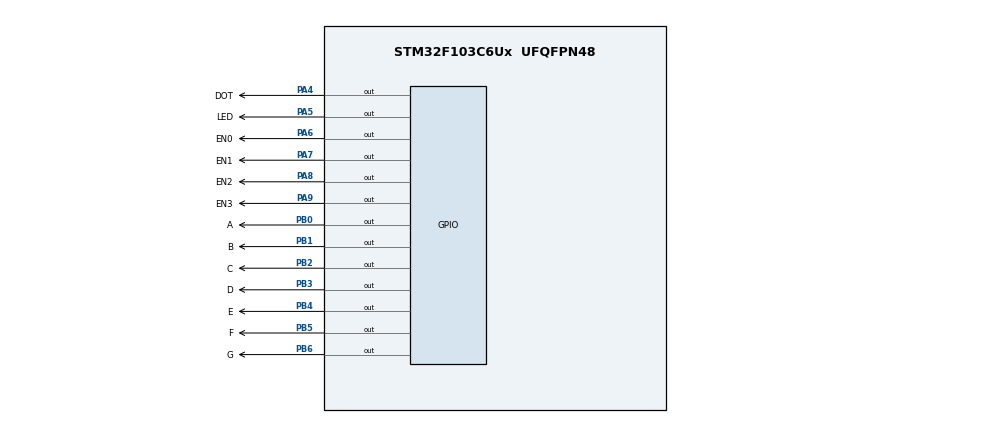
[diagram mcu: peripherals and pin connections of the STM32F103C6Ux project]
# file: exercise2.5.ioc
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Mcu.Family=STM32F1
Mcu.Name=STM32F103C6Ux
Mcu.Package=UFQFPN48
NVIC.PriorityGroup=NVIC_PRIORITYGROUP_4
NVIC.TIM2_IRQn=true\:0\:0\:false\:false\:true\:true\:true
PA4.GPIO_Label=DOT
PA4.Signal=GPIO_Output
PA5.GPIO_Label=LED
PA5.Signal=GPIO_Output
PA6.GPIO_Label=EN0
PA6.Signal=GPIO_Output
PA7.GPIO_Label=EN1
PA7.Signal=GPIO_Output
PA8.GPIO_Label=EN2
PA8.Signal=GPIO_Output
PA9.GPIO_Label=EN3
PA9.Signal=GPIO_Output
PB0.GPIO_Label=A
PB0.Signal=GPIO_Output
PB1.GPIO_Label=B
PB1.Signal=GPIO_Output
PB2.GPIO_Label=C
PB2.Signal=GPIO_Output
PB3.GPIO_Label=D
PB3.Signal=GPIO_Output
PB4.GPIO_Label=E
PB4.Signal=GPIO_Output
PB5.GPIO_Label=F
PB5.Signal=GPIO_Output
PB6.GPIO_Label=G
PB6.Signal=GPIO_Output
ProjectManager.HeapSize=0x200
ProjectManager.StackSize=0x400
ProjectManager.TargetToolchain=STM32CubeIDE
RCC.APB1Freq_Value=8000000
RCC.APB2Freq_Value=8000000
TIM2.Period=9
TIM2.Prescaler=7999
VP_SYS_VS_ND.Mode=No_Debug
VP_TIM2_VS_ClockSourceINT.Mode=Internal
board=custom

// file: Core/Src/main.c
/* USER CODE BEGIN Header */
/**
  ******************************************************************************
  * @file           : main.c
  * @brief          : Main program body
  ******************************************************************************
  * @attention
  *
  * <h2><center>&copy; Copyright (c) 2025 STMicroelectronics.
  * All rights reserved.</center></h2>
  *
  * This software component is licensed by ST under BSD 3-Clause license,
  * the "License"; You may not use this file except in compliance with the
  * License. You may obtain a copy of the License at:
  *                        opensource.org/licenses/BSD-3-Clause
  *
  ******************************************************************************
  */
/* USER CODE END Header */
#include "main.h"

TIM_HandleTypeDef htim2;

/* USER CODE BEGIN PV */
void display7SEG(int num);
void update7SEG(int num);
void updateClockBuffer(int hour, int minute);
/* USER CODE END PV */

void SystemClock_Config(void);
static void MX_GPIO_Init(void);
static void MX_TIM2_Init(void);

/* USER CODE BEGIN 0 */
const uint8_t seg_table[10]={
			0b1000000,
			0b1111001,
			0b0100100,
			0b0110000,
			0b0011001,
			0b0010010,
			0b0000010,
			0b1111000,
			0b0000000,
			0b0010000
};
uint16_t seg_pins[7] ={A_Pin, B_Pin, C_Pin, D_Pin, E_Pin, F_Pin, G_Pin};
//int timer0_counter =0;
//int timer0_flag =0;
//int TIMER_CYCLE = 10;
//void setTimer0(int duration){
//	timer0_counter = duration/TIMER_CYCLE;
//	timer0_flag =0;
//}
//void timer_run(){
//	if(timer0_counter >0){
//		timer0_counter--;
//		if(timer0_counter ==0) timer0_flag =1;
//	}
//}
/* USER CODE END 0 */

int main(void)
{

  /* MCU Configuration--------------------------------------------------------*/

  /* Reset of all peripherals, Initializes the Flash interface and the Systick. */
  HAL_Init();

  /* Configure the system clock */
  SystemClock_Config();

  /* Initialize all configured peripherals */
  MX_GPIO_Init();
  MX_TIM2_Init();
  /* USER CODE BEGIN 2 */
  HAL_TIM_Base_Start_IT(&htim2);
  /* USER CODE END 2 */

  /* Infinite loop */
  /* USER CODE BEGIN WHILE */
  int hour = 15, minute = 36, second = 58;
//  setTimer0(1000);
  while (1)
  {
//	  if(timer0_flag == 1){
//	          timer0_flag = 0;
//	          setTimer0(1000);
	          second++;
	          if(second >= 60){
	              second = 0;
	              minute++;
	          }
	          if(minute >= 60){
	              minute = 0;
	              hour++;
	          }
	          if(hour >= 24) hour = 0;

//	          }
	          updateClockBuffer(hour, minute);
	          HAL_GPIO_TogglePin(GPIOA, LED_Pin);
	          HAL_GPIO_TogglePin(GPIOA, DOT_Pin);
	          HAL_Delay(1000);
  }

  /* USER CODE END 3 */
}

void SystemClock_Config(void)
{
  RCC_OscInitTypeDef RCC_OscInitStruct = {0};
  RCC_ClkInitTypeDef RCC_ClkInitStruct = {0};

  /** Initializes the RCC Oscillators according to the specified parameters
  * in the RCC_OscInitTypeDef structure.
  */
  RCC_OscInitStruct.OscillatorType = RCC_OSCILLATORTYPE_HSI;
  RCC_OscInitStruct.HSIState = RCC_HSI_ON;
  RCC_OscInitStruct.HSICalibrationValue = RCC_HSICALIBRATION_DEFAULT;
  RCC_OscInitStruct.PLL.PLLState = RCC_PLL_NONE;
  if (HAL_RCC_OscConfig(&RCC_OscInitStruct) != HAL_OK)
  {
    Error_Handler();
  }
  /** Initializes the CPU, AHB and APB buses clocks
  */
  RCC_ClkInitStruct.ClockType = RCC_CLOCKTYPE_HCLK|RCC_CLOCKTYPE_SYSCLK
                              |RCC_CLOCKTYPE_PCLK1|RCC_CLOCKTYPE_PCLK2;
  RCC_ClkInitStruct.SYSCLKSource = RCC_SYSCLKSOURCE_HSI;
  RCC_ClkInitStruct.AHBCLKDivider = RCC_SYSCLK_DIV1;
  RCC_ClkInitStruct.APB1CLKDivider = RCC_HCLK_DIV1;
  RCC_ClkInitStruct.APB2CLKDivider = RCC_HCLK_DIV1;

  if (HAL_RCC_ClockConfig(&RCC_ClkInitStruct, FLASH_LATENCY_0) != HAL_OK)
  {
    Error_Handler();
  }
}

static void MX_TIM2_Init(void)
{

  TIM_ClockConfigTypeDef sClockSourceConfig = {0};
  TIM_MasterConfigTypeDef sMasterConfig = {0};

  htim2.Instance = TIM2;
  htim2.Init.Prescaler = 7999;
  htim2.Init.CounterMode = TIM_COUNTERMODE_UP;
  htim2.Init.Period = 9;
  htim2.Init.ClockDivision = TIM_CLOCKDIVISION_DIV1;
  htim2.Init.AutoReloadPreload = TIM_AUTORELOAD_PRELOAD_DISABLE;
  if (HAL_TIM_Base_Init(&htim2) != HAL_OK)
  {
    Error_Handler();
  }
  sClockSourceConfig.ClockSource = TIM_CLOCKSOURCE_INTERNAL;
  if (HAL_TIM_ConfigClockSource(&htim2, &sClockSourceConfig) != HAL_OK)
  {
    Error_Handler();
  }
  sMasterConfig.MasterOutputTrigger = TIM_TRGO_RESET;
  sMasterConfig.MasterSlaveMode = TIM_MASTERSLAVEMODE_DISABLE;
  if (HAL_TIMEx_MasterConfigSynchronization(&htim2, &sMasterConfig) != HAL_OK)
  {
    Error_Handler();
  }

}

static void MX_GPIO_Init(void)
{
  GPIO_InitTypeDef GPIO_InitStruct = {0};

  /* GPIO Ports Clock Enable */
  __HAL_RCC_GPIOA_CLK_ENABLE();
  __HAL_RCC_GPIOB_CLK_ENABLE();

  /*Configure GPIO pin Output Level */
  HAL_GPIO_WritePin(GPIOA, DOT_Pin|LED_Pin|EN0_Pin|EN1_Pin
                          |EN2_Pin|EN3_Pin, GPIO_PIN_RESET);

  /*Configure GPIO pin Output Level */
  HAL_GPIO_WritePin(GPIOB, A_Pin|B_Pin|C_Pin|D_Pin
                          |E_Pin|F_Pin|G_Pin, GPIO_PIN_RESET);

  /*Configure GPIO pins : DOT_Pin LED_Pin EN0_Pin EN1_Pin
                           EN2_Pin EN3_Pin */
  GPIO_InitStruct.Pin = DOT_Pin|LED_Pin|EN0_Pin|EN1_Pin
                          |EN2_Pin|EN3_Pin;
  GPIO_InitStruct.Mode = GPIO_MODE_OUTPUT_PP;
  GPIO_InitStruct.Pull = GPIO_NOPULL;
  GPIO_InitStruct.Speed = GPIO_SPEED_FREQ_LOW;
  HAL_GPIO_Init(GPIOA, &GPIO_InitStruct);

  /*Configure GPIO pins : A_Pin B_Pin C_Pin D_Pin
                           E_Pin F_Pin G_Pin */
  GPIO_InitStruct.Pin = A_Pin|B_Pin|C_Pin|D_Pin
                          |E_Pin|F_Pin|G_Pin;
  GPIO_InitStruct.Mode = GPIO_MODE_OUTPUT_PP;
  GPIO_InitStruct.Pull = GPIO_NOPULL;
  GPIO_InitStruct.Speed = GPIO_SPEED_FREQ_LOW;
  HAL_GPIO_Init(GPIOB, &GPIO_InitStruct);

}

/* USER CODE BEGIN 4 */
void display7SEG(int num){
	uint8_t pattern= seg_table[num];
		for(int i=0; i< 7; i++){
			if( pattern & (1<<i) )
				HAL_GPIO_WritePin(GPIOB, seg_pins[i], SET);
			else
				HAL_GPIO_WritePin(GPIOB, seg_pins[i], RESET);
		}
}
const int MAX_LED = 4;
int led_index =0;
int led_buffer[4] = {0,0,0,0};
int counter =0;
void update7SEG(int index){
	HAL_GPIO_WritePin(GPIOA, EN0_Pin | EN1_Pin | EN2_Pin | EN3_Pin, GPIO_PIN_SET);
	    switch (index){
	    case 0:
	        HAL_GPIO_WritePin(GPIOA, EN0_Pin, GPIO_PIN_RESET);
	        display7SEG(led_buffer[0]);
	        break;
	    case 1:
	        HAL_GPIO_WritePin(GPIOA, EN1_Pin, GPIO_PIN_RESET);
	        display7SEG(led_buffer[1]);
	        break;
	    case 2:
	        HAL_GPIO_WritePin(GPIOA, EN2_Pin, GPIO_PIN_RESET);
	        display7SEG(led_buffer[2]);
	        break;
	    case 3:
	        HAL_GPIO_WritePin(GPIOA, EN3_Pin, GPIO_PIN_RESET);
	        display7SEG(led_buffer[3]);
	        break;
	    default:
	        break;
	    }
}
void updateClockBuffer(int hour, int minute){
	    led_buffer[0] = (hour / 10) % 10;
	    led_buffer[1] = hour % 10;
	    led_buffer[2] = (minute / 10) % 10;
	    led_buffer[3] = minute % 10;
}
void HAL_TIM_PeriodElapsedCallback(TIM_HandleTypeDef* htim){
	 if(htim->Instance == TIM2){
	        counter++;
	        if(counter >= 25){
	            counter = 0;
	            update7SEG(led_index);
	            led_index++;
	            if(led_index >= MAX_LED) led_index = 0;
	        }
//			timer_run();
	    }
}
/* USER CODE END 4 */

void Error_Handler(void)
{
  __disable_irq();
  while (1)
  {
  }
}

/************************ (C) COPYRIGHT STMicroelectronics *****END OF FILE****/
